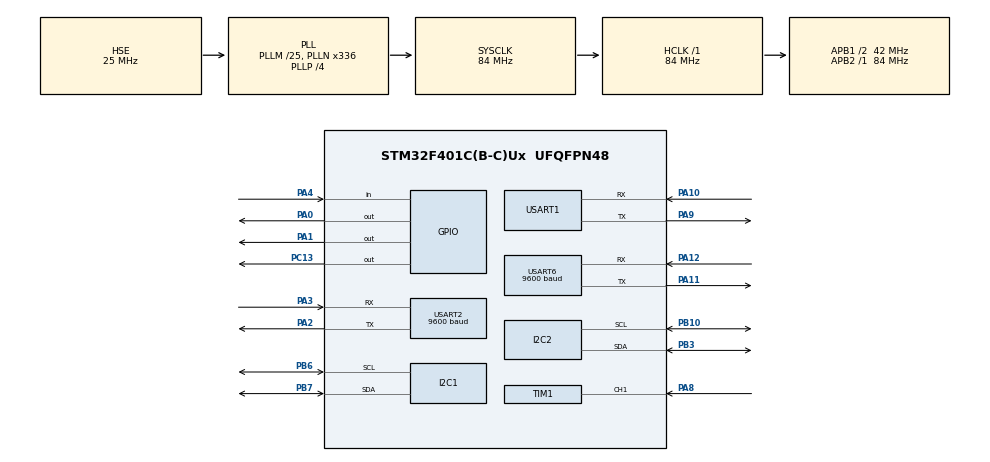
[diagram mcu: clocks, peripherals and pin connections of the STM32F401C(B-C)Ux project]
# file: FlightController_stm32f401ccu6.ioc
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Dma.I2C1_RX.0.Direction=DMA_PERIPH_TO_MEMORY
Dma.I2C1_RX.0.FIFOMode=DMA_FIFOMODE_DISABLE
Dma.I2C1_RX.0.Instance=DMA1_Stream0
Dma.I2C1_RX.0.MemDataAlignment=DMA_MDATAALIGN_BYTE
Dma.I2C1_RX.0.MemInc=DMA_MINC_ENABLE
Dma.I2C1_RX.0.Mode=DMA_NORMAL
Dma.I2C1_RX.0.PeriphDataAlignment=DMA_PDATAALIGN_BYTE
Dma.I2C1_RX.0.PeriphInc=DMA_PINC_DISABLE
Dma.I2C1_RX.0.Priority=DMA_PRIORITY_LOW
Dma.Request0=I2C1_RX
Dma.Request1=TIM1_CH2
Dma.Request2=USART1_RX
Dma.TIM1_CH2.1.Direction=DMA_PERIPH_TO_MEMORY
Dma.TIM1_CH2.1.FIFOMode=DMA_FIFOMODE_DISABLE
Dma.TIM1_CH2.1.Instance=DMA2_Stream2
Dma.TIM1_CH2.1.MemDataAlignment=DMA_MDATAALIGN_WORD
Dma.TIM1_CH2.1.MemInc=DMA_MINC_ENABLE
Dma.TIM1_CH2.1.Mode=DMA_CIRCULAR
Dma.TIM1_CH2.1.PeriphDataAlignment=DMA_PDATAALIGN_WORD
Dma.TIM1_CH2.1.PeriphInc=DMA_PINC_DISABLE
Dma.TIM1_CH2.1.Priority=DMA_PRIORITY_LOW
Dma.USART1_RX.2.Direction=DMA_PERIPH_TO_MEMORY
Dma.USART1_RX.2.FIFOMode=DMA_FIFOMODE_DISABLE
Dma.USART1_RX.2.Instance=DMA2_Stream5
Dma.USART1_RX.2.MemDataAlignment=DMA_MDATAALIGN_BYTE
Dma.USART1_RX.2.MemInc=DMA_MINC_ENABLE
Dma.USART1_RX.2.Mode=DMA_NORMAL
Dma.USART1_RX.2.PeriphDataAlignment=DMA_PDATAALIGN_BYTE
Dma.USART1_RX.2.PeriphInc=DMA_PINC_DISABLE
Dma.USART1_RX.2.Priority=DMA_PRIORITY_LOW
I2C1.I2C_Mode=I2C_Fast
Mcu.Family=STM32F4
Mcu.Name=STM32F401C(B-C)Ux
Mcu.Package=UFQFPN48
NVIC.DMA1_Stream0_IRQn=true\:0\:0\:false\:false\:true\:false\:true
NVIC.DMA2_Stream2_IRQn=true\:0\:0\:false\:false\:true\:false\:true
NVIC.DMA2_Stream5_IRQn=true\:0\:0\:false\:false\:true\:false\:true
NVIC.I2C1_ER_IRQn=true\:0\:0\:false\:false\:true\:true\:true
NVIC.I2C1_EV_IRQn=true\:0\:0\:false\:false\:true\:true\:true
NVIC.I2C2_EV_IRQn=true\:0\:0\:false\:false\:true\:true\:true
NVIC.PriorityGroup=NVIC_PRIORITYGROUP_4
NVIC.TIM3_IRQn=true\:0\:0\:false\:false\:true\:true\:true
NVIC.TIM4_IRQn=true\:0\:0\:false\:false\:true\:true\:true
NVIC.TIM5_IRQn=true\:0\:0\:false\:false\:true\:true\:true
NVIC.USART1_IRQn=true\:0\:0\:false\:false\:true\:true\:true
NVIC.USART2_IRQn=true\:0\:0\:false\:false\:true\:true\:true
NVIC.USART6_IRQn=true\:0\:0\:false\:false\:true\:true\:true
PA0-WKUP.GPIO_PuPd=GPIO_PULLDOWN
PA0-WKUP.Signal=GPIO_Output
PA1.GPIO_PuPd=GPIO_PULLDOWN
PA1.Signal=GPIO_Output
PA10.Mode=Asynchronous
PA10.Signal=USART1_RX
PA11.Mode=Asynchronous
PA11.Signal=USART6_TX
PA12.Mode=Asynchronous
PA12.Signal=USART6_RX
PA13.Mode=Serial_Wire
PA13.Signal=SYS_JTMS-SWDIO
PA14.Mode=Serial_Wire
PA14.Signal=SYS_JTCK-SWCLK
PA2.Mode=Asynchronous
PA2.Signal=USART2_TX
PA3.Mode=Asynchronous
PA3.Signal=USART2_RX
PA4.Signal=GPIO_Input
PA8.Signal=S_TIM1_CH1
PA9.Mode=Asynchronous
PA9.Signal=USART1_TX
PB10.Mode=I2C
PB10.Signal=I2C2_SCL
PB3.Mode=I2C
PB3.Signal=I2C2_SDA
PB6.Mode=I2C
PB6.Signal=I2C1_SCL
PB7.Mode=I2C
PB7.Signal=I2C1_SDA
PC13-ANTI_TAMP.GPIO_PuPd=GPIO_PULLDOWN
PC13-ANTI_TAMP.Signal=GPIO_Output
PH0\ -\ OSC_IN.Mode=HSE-External-Oscillator
PH0\ -\ OSC_IN.Signal=RCC_OSC_IN
PH1\ -\ OSC_OUT.Mode=HSE-External-Oscillator
PH1\ -\ OSC_OUT.Signal=RCC_OSC_OUT
ProjectManager.HeapSize=0x200
ProjectManager.StackSize=0x400
ProjectManager.TargetToolchain=STM32CubeIDE
RCC.48MHZClocksFreq_Value=48000000
RCC.AHBFreq_Value=84000000
RCC.APB1CLKDivider=RCC_HCLK_DIV2
RCC.APB1Freq_Value=42000000
RCC.APB1TimFreq_Value=84000000
RCC.APB2Freq_Value=84000000
RCC.APB2TimFreq_Value=84000000
RCC.CortexFreq_Value=84000000
RCC.HCLKFreq_Value=84000000
RCC.HSE_VALUE=25000000
RCC.HSI_VALUE=16000000
RCC.LSE_VALUE=32768
RCC.PLLM=25
RCC.PLLN=336
RCC.PLLP=RCC_PLLP_DIV4
RCC.PLLQ=7
RCC.PLLSourceVirtual=RCC_PLLSOURCE_HSE
RCC.SYSCLKFreq_VALUE=84000000
RCC.SYSCLKSource=RCC_SYSCLKSOURCE_PLLCLK
RCC.VCOOutputFreq_Value=336000000
SH.S_TIM1_CH1.0=TIM1_CH1,Input_Capture1_from_TI1
SH.S_TIM1_CH1.1=TIM1_CH1,TriggerSource_TI1FP1
TIM1.Channel-Input_Capture1_from_TI1=TIM_CHANNEL_1
TIM1.Channel-Input_Capture2_from_TI1_63=TIM_CHANNEL_2
TIM1.ICPolarity_CH2=TIM_INPUTCHANNELPOLARITY_FALLING
TIM1.Period=65000
TIM1.Prescaler=83
TIM3.Period=1000
TIM3.Prescaler=83
TIM4.Period=30000
TIM4.Prescaler=83
TIM5.Prescaler=83
USART1.VirtualMode=VM_ASYNC
USART2.BaudRate=9600
USART2.VirtualMode=VM_ASYNC
USART6.BaudRate=9600
USART6.VirtualMode=VM_ASYNC
VP_TIM1_VS_ControllerModeReset.Mode=Reset Mode
VP_TIM1_VS_indirect_ch1.Mode=Input_Capture2_from_TI1_63
VP_TIM3_VS_ClockSourceINT.Mode=Internal
VP_TIM4_VS_ClockSourceINT.Mode=Internal
VP_TIM5_VS_ClockSourceINT.Mode=Internal
board=custom

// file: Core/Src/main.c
/* USER CODE BEGIN Header */
/**
 ******************************************************************************
 * @file           : main.c
 * @brief          : Main program body
 ******************************************************************************
 * @attention
 *
 * Copyright (c) 2022 STMicroelectronics.
 * All rights reserved.
 *
 * This software is licensed under terms that can be found in the LICENSE file
 * in the root directory of this software component.
 * If no LICENSE file comes with this software, it is provided AS-IS.
 *
 ******************************************************************************
 */
/* USER CODE END Header */
#include "main.h"

/* USER CODE BEGIN Includes */
#include "mpu6050.h"
#include "IMU.h"
#include "BiQuadFilter.h"
#include "PID.h"
//#include "BMP180.h"
#include "bmp280.h"
#include "HMC5883.h"
#include "gps.h"
#include "string.h"
#include <stdio.h>
/* USER CODE END Includes */

/* USER CODE BEGIN PTD */

struct {
	uint16_t Pitch_PWM;
	uint16_t Roll_PWM;
} TransmitStruct;

struct {
	uint8_t command;
	uint16_t P;
	uint16_t I;
	uint16_t D;
} pid_recieve_struct;

struct {
	uint8_t command;
	int16_t offsetR;
	int16_t offsetP;
}offset_recieve_struct;

/* USER CODE END PTD */

I2C_HandleTypeDef hi2c1;
I2C_HandleTypeDef hi2c2;
DMA_HandleTypeDef hdma_i2c1_rx;

TIM_HandleTypeDef htim1;
TIM_HandleTypeDef htim3;
TIM_HandleTypeDef htim4;
TIM_HandleTypeDef htim5;
DMA_HandleTypeDef hdma_tim1_ch2;

UART_HandleTypeDef huart1;
UART_HandleTypeDef huart2;
UART_HandleTypeDef huart6;
DMA_HandleTypeDef hdma_usart1_rx;

/* USER CODE BEGIN PV */

MPU6050_t MPU6050;
char trans_str[30] = { 0, };
char uart_str[16] = { 0, };
uint8_t Read_Data[14];
uint32_t count_tic = 0;
_Bool MPU_data_enable = 0;
uint32_t time = 0;
uint16_t PWM_Duty[4] = { 0, };
uint32_t zntime;

int targetPitch = 0;
int targetRoll = 0;

//uint8_t ack[32] = {0, };
uint8_t ack = 0;
uint8_t uart_mode = 0;
uint8_t copyTheMem = 0;

uint8_t recieve_lora_buff[32] = {0, };
uint8_t lora_tx_str[32] = {0, };

BMP280_HandleTypedef bmp280;
uint32_t baro_time = 0;
double baro_buff = 0;
uint8_t baro_cnt = 0;
float alt_offset = 0;
float alt = 0;

GPS_t GPS;

float azimuth = 0;
uint8_t dataready = 0;
uint8_t settingss = 0;

int16_t compassX = 0;
int16_t compassY = 0;
int16_t compassZ = 0;

/* USER CODE END PV */

void SystemClock_Config(void);
static void MX_GPIO_Init(void);
static void MX_I2C1_Init(void);
static void MX_DMA_Init(void);
static void MX_USART1_UART_Init(void);
static void MX_TIM1_Init(void);
static void MX_TIM3_Init(void);
static void MX_TIM4_Init(void);
static void MX_I2C2_Init(void);
static void MX_USART2_UART_Init(void);
static void MX_USART6_UART_Init(void);
static void MX_TIM5_Init(void);

/* USER CODE BEGIN 0 */

void HAL_TIM_PeriodElapsedCallback(TIM_HandleTypeDef *htim) {

	if (htim == &htim3) {
		CalculatePID(-MPU6050.ROLL, -MPU6050.PITCH, 0 + MPU6050.offsetP, 0 + MPU6050.offsetR);
		TransmitStruct.Pitch_PWM = PitchPID.PWM_Duty;
		TransmitStruct.Roll_PWM = RollPID.PWM_Duty;

	} else {
		if (htim == &htim4) {

			HAL_UART_Transmit_IT(&huart1, &TransmitStruct,
					sizeof(TransmitStruct));

		}
	}
}

void HAL_UART_TxCpltCallback(UART_HandleTypeDef *huart) {
	if (huart == &huart1) {
		HAL_UART_Receive_IT(&huart1, &ack, 1);
	}
	else{
		if(huart == &huart2){
			HAL_UART_Receive_IT(&huart2, recieve_lora_buff, sizeof(recieve_lora_buff));
		}
	}
}

void HAL_UART_RxCpltCallback(UART_HandleTypeDef *huart) {
	if (huart == &huart1) {

		if(ack == 4){
			HAL_GPIO_WritePin(GPIOC, GPIO_PIN_13, RESET);
		}
	}
	else{
		if(huart == &huart2){
			switch(recieve_lora_buff[0]){
					case 2:
						memcpy(&pid_recieve_struct, recieve_lora_buff, sizeof(pid_recieve_struct));
						RollPID.Kp = (float)pid_recieve_struct.P / 100;
						RollPID.Ki = (float)pid_recieve_struct.I / 100;
						RollPID.Kd = (float)pid_recieve_struct.D / 100;
						snprintf(lora_tx_str, 30, "%.2f %.2f %.2f 2\n",  RollPID.Kp, RollPID.Ki, RollPID.Kd);
						break;
					case 3:
						memcpy(&pid_recieve_struct, recieve_lora_buff, sizeof(pid_recieve_struct));
						PitchPID.Kp = (float)pid_recieve_struct.P / 100;
						PitchPID.Ki = (float)pid_recieve_struct.I / 100;
						PitchPID.Kd = (float)pid_recieve_struct.D / 100;
						snprintf(lora_tx_str, 30, "%.2f %.2f %.2f 3\n",  PitchPID.Kp, PitchPID.Ki, PitchPID.Kd);
						break;
					case 4:
						uart_mode = 0;
						HAL_GPIO_WritePin(GPIOC, GPIO_PIN_13, RESET);
						break;
					case 5:
						memcpy(&offset_recieve_struct, recieve_lora_buff, sizeof(offset_recieve_struct));
						MPU6050.offsetR = offset_recieve_struct.offsetR;
						MPU6050.offsetP = offset_recieve_struct.offsetP;
						snprintf(lora_tx_str, 30, "%d %d %d\n",  MPU6050.offsetP, MPU6050.offsetR, recieve_lora_buff[0]);
						break;
					case 6:
						memcpy(&pid_recieve_struct, recieve_lora_buff, sizeof(pid_recieve_struct));
						AltPID.Kp = (float)pid_recieve_struct.P / 100;
						AltPID.Ki = (float)pid_recieve_struct.I / 100;
						AltPID.Kd = (float)pid_recieve_struct.D / 100;
						snprintf(lora_tx_str, 30, "%.2f %.2f %.2f %d\n",  AltPID.Kp, AltPID.Ki, AltPID.Kd, recieve_lora_buff[0]);
						break;
					case 7:
						snprintf(lora_tx_str, 30, "%d %.6f %.6f %d\n",  GPS.satelites, GPS.dec_latitude, GPS.dec_longitude, recieve_lora_buff[0]);
						break;
					case 8:
						snprintf(lora_tx_str, 30, "%.2f %.2f %.2f%s %d\n",  GPS.course_t, GPS.speed_km, GPS.msl_altitude, GPS.msl_units,recieve_lora_buff[0]);
						break;
					case 9:
						snprintf(lora_tx_str, 30, "%.2f %d %d %d\n", azimuth , compassX, compassY, compassZ);
						break;
					case 10:
						snprintf(lora_tx_str, 30, " %.2f %.2f %.2f %.2f\n", bmp280.altitude , MPU6050.ROLL, MPU6050.PITCH, MPU6050.YAW);
						break;
					case 11:
						snprintf(lora_tx_str, 30, "%.2f %.2f %.2f\n", MPU6050.Gx, MPU6050.Gy, MPU6050.Gz);
						break;
					case 12:
						snprintf(lora_tx_str, 30, "%.2f %.2f %.2f\n", MPU6050.Ax, MPU6050.Ay, MPU6050.Az);
						break;

					}

			HAL_UART_Transmit_IT(&huart2, lora_tx_str, sizeof(lora_tx_str));
		}
		else if(huart == &huart6){
			GPS_UART_CallBack();
		}
	}
}

/* USER CODE END 0 */

int main(void)
{

  /* MCU Configuration--------------------------------------------------------*/

  /* Reset of all peripherals, Initializes the Flash interface and the Systick. */
  HAL_Init();

  /* Configure the system clock */
  SystemClock_Config();

  /* Initialize all configured peripherals */
  MX_GPIO_Init();
  MX_I2C1_Init();
  MX_DMA_Init();
  MX_USART1_UART_Init();
  MX_TIM1_Init();
  MX_TIM3_Init();
  MX_TIM4_Init();
  MX_I2C2_Init();
  MX_USART2_UART_Init();
  MX_USART6_UART_Init();
  MX_TIM5_Init();
  /* USER CODE BEGIN 2 */

	HAL_TIM_IC_Start_DMA(&htim1, TIM_CHANNEL_2, (uint32_t*) &zntime, 1);

	HAL_TIM_Base_Start_IT(&htim3);
	HAL_TIM_Base_Start_IT(&htim4);

	 HAL_TIM_Base_Start_IT(&htim5);

	HAL_Delay(200);

	PitchPID.Kp = 4;
	PitchPID.Ki = 0;
	PitchPID.Kd = 0;
	PitchPID.PWM_Duty = 1500;

	RollPID.Kp = 4;
	RollPID.Ki = 0;
	RollPID.Kd = 0;
	RollPID.PWM_Duty = 1500;

	AltPID.Kp = 1;
	AltPID.Ki = 0.1;

	TransmitStruct.Pitch_PWM = 1500;
	TransmitStruct.Roll_PWM = 1500;

	while (MPU6050_Init(&hi2c1) == 1)
		;
	imuInit();
	BQfilterInit();
	DTermFilterInit();

	bmp280_init_params(&bmp280.params);
	bmp280.addr = BMP280_I2C_ADDRESS_0;
	bmp280.i2c = &hi2c2;

	while (!bmp280_init(&bmp280, &bmp280.params)) {
		HAL_Delay(1000);

	}
	//BMP180_Start();
	//alt_offset = BMP180_GetAlt(1);

	settingss = HMC_Init();

	HAL_Delay(5000);

	MPU6050.Gz_offset = MPU6050.Gz;
	//alt_offset = BMP180_GetAlt(1);

	bmp280_read_float(&bmp280);

	alt_offset = bmp280.altitude;

	HAL_UART_Receive_IT(&huart2, recieve_lora_buff, sizeof(recieve_lora_buff));

	GPS_Init();

  /* USER CODE END 2 */

  /* Infinite loop */
  /* USER CODE BEGIN WHILE */
	while (1) {

		/*Calculating altitude 26HZ*/
		if(HAL_GetTick() - baro_time > 40){

			bmp280_read_float(&bmp280);
			bmp280.altitude -= alt_offset;

			baro_time = HAL_GetTick();
		}

		dataready =  HMC_Update(&azimuth);

		/*Indicator of transmition between controllers reset*/
		if (HAL_GetTick() - time >= 500) {
			time = HAL_GetTick();
			HAL_GPIO_WritePin(GPIOC, GPIO_PIN_13, SET);
		}
    /* USER CODE END WHILE */

	}
}

void SystemClock_Config(void)
{
  RCC_OscInitTypeDef RCC_OscInitStruct = {0};
  RCC_ClkInitTypeDef RCC_ClkInitStruct = {0};

  /** Configure the main internal regulator output voltage
  */
  __HAL_RCC_PWR_CLK_ENABLE();
  __HAL_PWR_VOLTAGESCALING_CONFIG(PWR_REGULATOR_VOLTAGE_SCALE2);
  /** Initializes the RCC Oscillators according to the specified parameters
  * in the RCC_OscInitTypeDef structure.
  */
  RCC_OscInitStruct.OscillatorType = RCC_OSCILLATORTYPE_HSE;
  RCC_OscInitStruct.HSEState = RCC_HSE_ON;
  RCC_OscInitStruct.PLL.PLLState = RCC_PLL_ON;
  RCC_OscInitStruct.PLL.PLLSource = RCC_PLLSOURCE_HSE;
  RCC_OscInitStruct.PLL.PLLM = 25;
  RCC_OscInitStruct.PLL.PLLN = 336;
  RCC_OscInitStruct.PLL.PLLP = RCC_PLLP_DIV4;
  RCC_OscInitStruct.PLL.PLLQ = 7;
  if (HAL_RCC_OscConfig(&RCC_OscInitStruct) != HAL_OK)
  {
    Error_Handler();
  }
  /** Initializes the CPU, AHB and APB buses clocks
  */
  RCC_ClkInitStruct.ClockType = RCC_CLOCKTYPE_HCLK|RCC_CLOCKTYPE_SYSCLK
                              |RCC_CLOCKTYPE_PCLK1|RCC_CLOCKTYPE_PCLK2;
  RCC_ClkInitStruct.SYSCLKSource = RCC_SYSCLKSOURCE_PLLCLK;
  RCC_ClkInitStruct.AHBCLKDivider = RCC_SYSCLK_DIV1;
  RCC_ClkInitStruct.APB1CLKDivider = RCC_HCLK_DIV2;
  RCC_ClkInitStruct.APB2CLKDivider = RCC_HCLK_DIV1;

  if (HAL_RCC_ClockConfig(&RCC_ClkInitStruct, FLASH_LATENCY_2) != HAL_OK)
  {
    Error_Handler();
  }
}

static void MX_I2C1_Init(void)
{

  hi2c1.Instance = I2C1;
  hi2c1.Init.ClockSpeed = 400000;
  hi2c1.Init.DutyCycle = I2C_DUTYCYCLE_2;
  hi2c1.Init.OwnAddress1 = 0;
  hi2c1.Init.AddressingMode = I2C_ADDRESSINGMODE_7BIT;
  hi2c1.Init.DualAddressMode = I2C_DUALADDRESS_DISABLE;
  hi2c1.Init.OwnAddress2 = 0;
  hi2c1.Init.GeneralCallMode = I2C_GENERALCALL_DISABLE;
  hi2c1.Init.NoStretchMode = I2C_NOSTRETCH_DISABLE;
  if (HAL_I2C_Init(&hi2c1) != HAL_OK)
  {
    Error_Handler();
  }

}

static void MX_I2C2_Init(void)
{

  hi2c2.Instance = I2C2;
  hi2c2.Init.ClockSpeed = 100000;
  hi2c2.Init.DutyCycle = I2C_DUTYCYCLE_2;
  hi2c2.Init.OwnAddress1 = 0;
  hi2c2.Init.AddressingMode = I2C_ADDRESSINGMODE_7BIT;
  hi2c2.Init.DualAddressMode = I2C_DUALADDRESS_DISABLE;
  hi2c2.Init.OwnAddress2 = 0;
  hi2c2.Init.GeneralCallMode = I2C_GENERALCALL_DISABLE;
  hi2c2.Init.NoStretchMode = I2C_NOSTRETCH_DISABLE;
  if (HAL_I2C_Init(&hi2c2) != HAL_OK)
  {
    Error_Handler();
  }

}

static void MX_TIM1_Init(void)
{

  TIM_SlaveConfigTypeDef sSlaveConfig = {0};
  TIM_MasterConfigTypeDef sMasterConfig = {0};
  TIM_IC_InitTypeDef sConfigIC = {0};

  htim1.Instance = TIM1;
  htim1.Init.Prescaler = 83;
  htim1.Init.CounterMode = TIM_COUNTERMODE_UP;
  htim1.Init.Period = 65000;
  htim1.Init.ClockDivision = TIM_CLOCKDIVISION_DIV1;
  htim1.Init.RepetitionCounter = 0;
  htim1.Init.AutoReloadPreload = TIM_AUTORELOAD_PRELOAD_DISABLE;
  if (HAL_TIM_Base_Init(&htim1) != HAL_OK)
  {
    Error_Handler();
  }
  if (HAL_TIM_IC_Init(&htim1) != HAL_OK)
  {
    Error_Handler();
  }
  sSlaveConfig.SlaveMode = TIM_SLAVEMODE_RESET;
  sSlaveConfig.InputTrigger = TIM_TS_TI1FP1;
  sSlaveConfig.TriggerPolarity = TIM_INPUTCHANNELPOLARITY_RISING;
  sSlaveConfig.TriggerFilter = 0;
  if (HAL_TIM_SlaveConfigSynchro(&htim1, &sSlaveConfig) != HAL_OK)
  {
    Error_Handler();
  }
  sMasterConfig.MasterOutputTrigger = TIM_TRGO_RESET;
  sMasterConfig.MasterSlaveMode = TIM_MASTERSLAVEMODE_DISABLE;
  if (HAL_TIMEx_MasterConfigSynchronization(&htim1, &sMasterConfig) != HAL_OK)
  {
    Error_Handler();
  }
  sConfigIC.ICPolarity = TIM_INPUTCHANNELPOLARITY_RISING;
  sConfigIC.ICSelection = TIM_ICSELECTION_DIRECTTI;
  sConfigIC.ICPrescaler = TIM_ICPSC_DIV1;
  sConfigIC.ICFilter = 0;
  if (HAL_TIM_IC_ConfigChannel(&htim1, &sConfigIC, TIM_CHANNEL_1) != HAL_OK)
  {
    Error_Handler();
  }
  sConfigIC.ICPolarity = TIM_INPUTCHANNELPOLARITY_FALLING;
  sConfigIC.ICSelection = TIM_ICSELECTION_INDIRECTTI;
  if (HAL_TIM_IC_ConfigChannel(&htim1, &sConfigIC, TIM_CHANNEL_2) != HAL_OK)
  {
    Error_Handler();
  }

}

static void MX_TIM3_Init(void)
{

  TIM_ClockConfigTypeDef sClockSourceConfig = {0};
  TIM_MasterConfigTypeDef sMasterConfig = {0};

  htim3.Instance = TIM3;
  htim3.Init.Prescaler = 83;
  htim3.Init.CounterMode = TIM_COUNTERMODE_UP;
  htim3.Init.Period = 1000;
  htim3.Init.ClockDivision = TIM_CLOCKDIVISION_DIV1;
  htim3.Init.AutoReloadPreload = TIM_AUTORELOAD_PRELOAD_DISABLE;
  if (HAL_TIM_Base_Init(&htim3) != HAL_OK)
  {
    Error_Handler();
  }
  sClockSourceConfig.ClockSource = TIM_CLOCKSOURCE_INTERNAL;
  if (HAL_TIM_ConfigClockSource(&htim3, &sClockSourceConfig) != HAL_OK)
  {
    Error_Handler();
  }
  sMasterConfig.MasterOutputTrigger = TIM_TRGO_RESET;
  sMasterConfig.MasterSlaveMode = TIM_MASTERSLAVEMODE_DISABLE;
  if (HAL_TIMEx_MasterConfigSynchronization(&htim3, &sMasterConfig) != HAL_OK)
  {
    Error_Handler();
  }

}

static void MX_TIM4_Init(void)
{

  TIM_ClockConfigTypeDef sClockSourceConfig = {0};
  TIM_MasterConfigTypeDef sMasterConfig = {0};

  htim4.Instance = TIM4;
  htim4.Init.Prescaler = 83;
  htim4.Init.CounterMode = TIM_COUNTERMODE_UP;
  htim4.Init.Period = 30000;
  htim4.Init.ClockDivision = TIM_CLOCKDIVISION_DIV1;
  htim4.Init.AutoReloadPreload = TIM_AUTORELOAD_PRELOAD_DISABLE;
  if (HAL_TIM_Base_Init(&htim4) != HAL_OK)
  {
    Error_Handler();
  }
  sClockSourceConfig.ClockSource = TIM_CLOCKSOURCE_INTERNAL;
  if (HAL_TIM_ConfigClockSource(&htim4, &sClockSourceConfig) != HAL_OK)
  {
    Error_Handler();
  }
  sMasterConfig.MasterOutputTrigger = TIM_TRGO_RESET;
  sMasterConfig.MasterSlaveMode = TIM_MASTERSLAVEMODE_DISABLE;
  if (HAL_TIMEx_MasterConfigSynchronization(&htim4, &sMasterConfig) != HAL_OK)
  {
    Error_Handler();
  }

}

static void MX_TIM5_Init(void)
{

  TIM_ClockConfigTypeDef sClockSourceConfig = {0};
  TIM_MasterConfigTypeDef sMasterConfig = {0};

  htim5.Instance = TIM5;
  htim5.Init.Prescaler = 83;
  htim5.Init.CounterMode = TIM_COUNTERMODE_UP;
  htim5.Init.Period = 4294967295;
  htim5.Init.ClockDivision = TIM_CLOCKDIVISION_DIV1;
  htim5.Init.AutoReloadPreload = TIM_AUTORELOAD_PRELOAD_DISABLE;
  if (HAL_TIM_Base_Init(&htim5) != HAL_OK)
  {
    Error_Handler();
  }
  sClockSourceConfig.ClockSource = TIM_CLOCKSOURCE_INTERNAL;
  if (HAL_TIM_ConfigClockSource(&htim5, &sClockSourceConfig) != HAL_OK)
  {
    Error_Handler();
  }
  sMasterConfig.MasterOutputTrigger = TIM_TRGO_RESET;
  sMasterConfig.MasterSlaveMode = TIM_MASTERSLAVEMODE_DISABLE;
  if (HAL_TIMEx_MasterConfigSynchronization(&htim5, &sMasterConfig) != HAL_OK)
  {
    Error_Handler();
  }

}

static void MX_USART1_UART_Init(void)
{

  huart1.Instance = USART1;
  huart1.Init.BaudRate = 115200;
  huart1.Init.WordLength = UART_WORDLENGTH_8B;
  huart1.Init.StopBits = UART_STOPBITS_1;
  huart1.Init.Parity = UART_PARITY_NONE;
  huart1.Init.Mode = UART_MODE_TX_RX;
  huart1.Init.HwFlowCtl = UART_HWCONTROL_NONE;
  huart1.Init.OverSampling = UART_OVERSAMPLING_16;
  if (HAL_UART_Init(&huart1) != HAL_OK)
  {
    Error_Handler();
  }

}

static void MX_USART2_UART_Init(void)
{

  huart2.Instance = USART2;
  huart2.Init.BaudRate = 9600;
  huart2.Init.WordLength = UART_WORDLENGTH_8B;
  huart2.Init.StopBits = UART_STOPBITS_1;
  huart2.Init.Parity = UART_PARITY_NONE;
  huart2.Init.Mode = UART_MODE_TX_RX;
  huart2.Init.HwFlowCtl = UART_HWCONTROL_NONE;
  huart2.Init.OverSampling = UART_OVERSAMPLING_16;
  if (HAL_UART_Init(&huart2) != HAL_OK)
  {
    Error_Handler();
  }

}

static void MX_USART6_UART_Init(void)
{

  huart6.Instance = USART6;
  huart6.Init.BaudRate = 9600;
  huart6.Init.WordLength = UART_WORDLENGTH_8B;
  huart6.Init.StopBits = UART_STOPBITS_1;
  huart6.Init.Parity = UART_PARITY_NONE;
  huart6.Init.Mode = UART_MODE_TX_RX;
  huart6.Init.HwFlowCtl = UART_HWCONTROL_NONE;
  huart6.Init.OverSampling = UART_OVERSAMPLING_16;
  if (HAL_UART_Init(&huart6) != HAL_OK)
  {
    Error_Handler();
  }

}

static void MX_DMA_Init(void)
{

  /* DMA controller clock enable */
  __HAL_RCC_DMA1_CLK_ENABLE();
  __HAL_RCC_DMA2_CLK_ENABLE();

  /* DMA interrupt init */
  /* DMA1_Stream0_IRQn interrupt configuration */
  HAL_NVIC_SetPriority(DMA1_Stream0_IRQn, 0, 0);
  HAL_NVIC_EnableIRQ(DMA1_Stream0_IRQn);
  /* DMA2_Stream2_IRQn interrupt configuration */
  HAL_NVIC_SetPriority(DMA2_Stream2_IRQn, 0, 0);
  HAL_NVIC_EnableIRQ(DMA2_Stream2_IRQn);
  /* DMA2_Stream5_IRQn interrupt configuration */
  HAL_NVIC_SetPriority(DMA2_Stream5_IRQn, 0, 0);
  HAL_NVIC_EnableIRQ(DMA2_Stream5_IRQn);

}

static void MX_GPIO_Init(void)
{
  GPIO_InitTypeDef GPIO_InitStruct = {0};

  /* GPIO Ports Clock Enable */
  __HAL_RCC_GPIOC_CLK_ENABLE();
  __HAL_RCC_GPIOH_CLK_ENABLE();
  __HAL_RCC_GPIOA_CLK_ENABLE();
  __HAL_RCC_GPIOB_CLK_ENABLE();

  /*Configure GPIO pin Output Level */
  HAL_GPIO_WritePin(GPIOC, GPIO_PIN_13, GPIO_PIN_RESET);

  /*Configure GPIO pin Output Level */
  HAL_GPIO_WritePin(GPIOA, GPIO_PIN_0|GPIO_PIN_1, GPIO_PIN_RESET);

  /*Configure GPIO pin : PC13 */
  GPIO_InitStruct.Pin = GPIO_PIN_13;
  GPIO_InitStruct.Mode = GPIO_MODE_OUTPUT_PP;
  GPIO_InitStruct.Pull = GPIO_PULLDOWN;
  GPIO_InitStruct.Speed = GPIO_SPEED_FREQ_LOW;
  HAL_GPIO_Init(GPIOC, &GPIO_InitStruct);

  /*Configure GPIO pins : PA0 PA1 */
  GPIO_InitStruct.Pin = GPIO_PIN_0|GPIO_PIN_1;
  GPIO_InitStruct.Mode = GPIO_MODE_OUTPUT_PP;
  GPIO_InitStruct.Pull = GPIO_PULLDOWN;
  GPIO_InitStruct.Speed = GPIO_SPEED_FREQ_LOW;
  HAL_GPIO_Init(GPIOA, &GPIO_InitStruct);

  /*Configure GPIO pin : PA4 */
  GPIO_InitStruct.Pin = GPIO_PIN_4;
  GPIO_InitStruct.Mode = GPIO_MODE_INPUT;
  GPIO_InitStruct.Pull = GPIO_NOPULL;
  HAL_GPIO_Init(GPIOA, &GPIO_InitStruct);

}

/* USER CODE BEGIN 4 */

void HAL_TIM_IC_CaptureCallback(TIM_HandleTypeDef *htim) {
	if (htim->Instance == TIM1) {
		MPU6050_Read_All(&hi2c1, &MPU6050);
	}
}

void HAL_I2C_MemRxCpltCallback(I2C_HandleTypeDef *hi2c) {
	Calculate_all(Read_Data, &MPU6050);
}

/* USER CODE END 4 */

void Error_Handler(void)
{
	__disable_irq();
	while (1) {
	}
}
